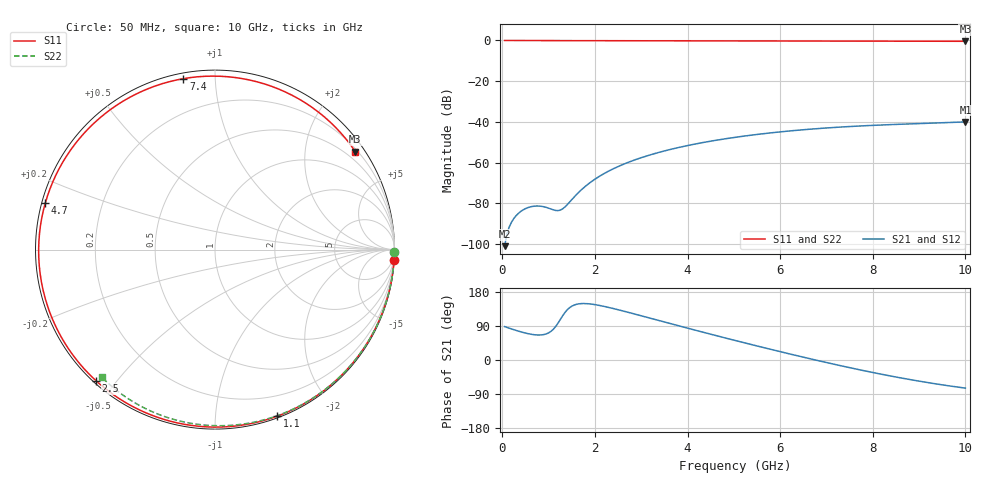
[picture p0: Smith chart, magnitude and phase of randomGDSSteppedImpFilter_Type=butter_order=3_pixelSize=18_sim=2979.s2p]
! freq	dB(S11)	phase(S11)	dB(S12)	phase(S12)
!  dB(S21)	phase(S21)	dB(S22)	phase(S22)
!S-par simulation data
#  GHz  S  DB  R 50
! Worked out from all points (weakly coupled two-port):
!   200 points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, 50 MHz to 10 GHz, reference 50 ohm
!   highest |S21| = -39.98 dB at 10 GHz (marker M1); lowest = -101.0 dB at 50 MHz (marker M2)
!   lowest |S11| = -0.4 dB at 10 GHz (marker M3), VSWR 41.96, Z = 13.1 + j158 ohm
!   |S11| at or under -10 dB: nowhere
!   |S22| runs from -0.4 to 0.0 dB; largest |S21 - S12| = 0
!   S11 on the Smith chart (normalised r, x): 50 MHz: 0, -33; 1.1 GHz: 0.01, -1.44; 2.5 GHz: 0.01, -0.44; 4.7 GHz: 0.01, +0.13; 7.4 GHz: 0.03, +0.83; 10 GHz: 0.26, +3.16
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0.05  -0.00 -3.4  -100.97 88.1  -100.97 88.1  -0.00 -0.8
0.3  -0.03 -20.3  -85.95 78.0  -85.95 78.0  -0.01 -4.6
0.6  -0.05 -39.8  -81.72 68.4  -81.72 68.4  -0.01 -9.1
0.85  -0.07 -55.2  -81.43 66.3  -81.43 66.3  -0.02 -12.8
1.1  -0.08 -69.6  -83.11 80.9  -83.11 80.9  -0.02 -16.6
1.4  -0.09 -85.5  -80.64 132.1  -80.64 132.1  -0.03 -21.1
1.45  -0.09 -88.0  -79.40 137.8  -79.40 137.8  -0.03 -21.8
1.75  -0.10 -102.2  -72.44 149.0  -72.44 149.0  -0.03 -26.2
2.1  -0.11 -117.0  -66.64 144.0  -66.64 144.0  -0.04 -31.4
2.5  -0.12 -132.2  -61.90 132.7  -61.90 132.7  -0.05 -37.1
2.95  -0.13 -147.3  -57.92 118.4  -57.92 118.4  -0.06 -43.6
3.4  -0.14 -160.9  -54.83 103.6  -54.83 103.6  -0.07 -49.9
4  -0.15 -177.5  -51.59 84.0  -51.59 84.0  -0.08 -58.2
4.7  -0.17 164.8  -48.67 61.7  -48.67 61.7  -0.10 -67.6
5.05  -0.18 156.2  -47.47 50.8  -47.47 50.8  -0.11 -72.3
5.9  -0.22 136.1  -45.11 25.0  -45.11 25.0  -0.14 -83.2
6.7  -0.25 117.2  -43.45 1.7  -43.45 1.7  -0.18 -93.1
7.4  -0.28 100.5  -42.38 -17.6  -42.38 -17.6  -0.22 -101.6
7.9  -0.30 88.3  -41.78 -30.5  -41.78 -30.5  -0.25 -107.5
8.35  -0.32 77.1  -41.34 -41.4  -41.34 -41.4  -0.29 -112.7
9.15  -0.36 56.9  -40.68 -58.9  -40.68 -58.9  -0.36 -121.9
10  -0.41 34.9  -39.98 -74.2  -39.98 -74.2  -0.45 -131.5
